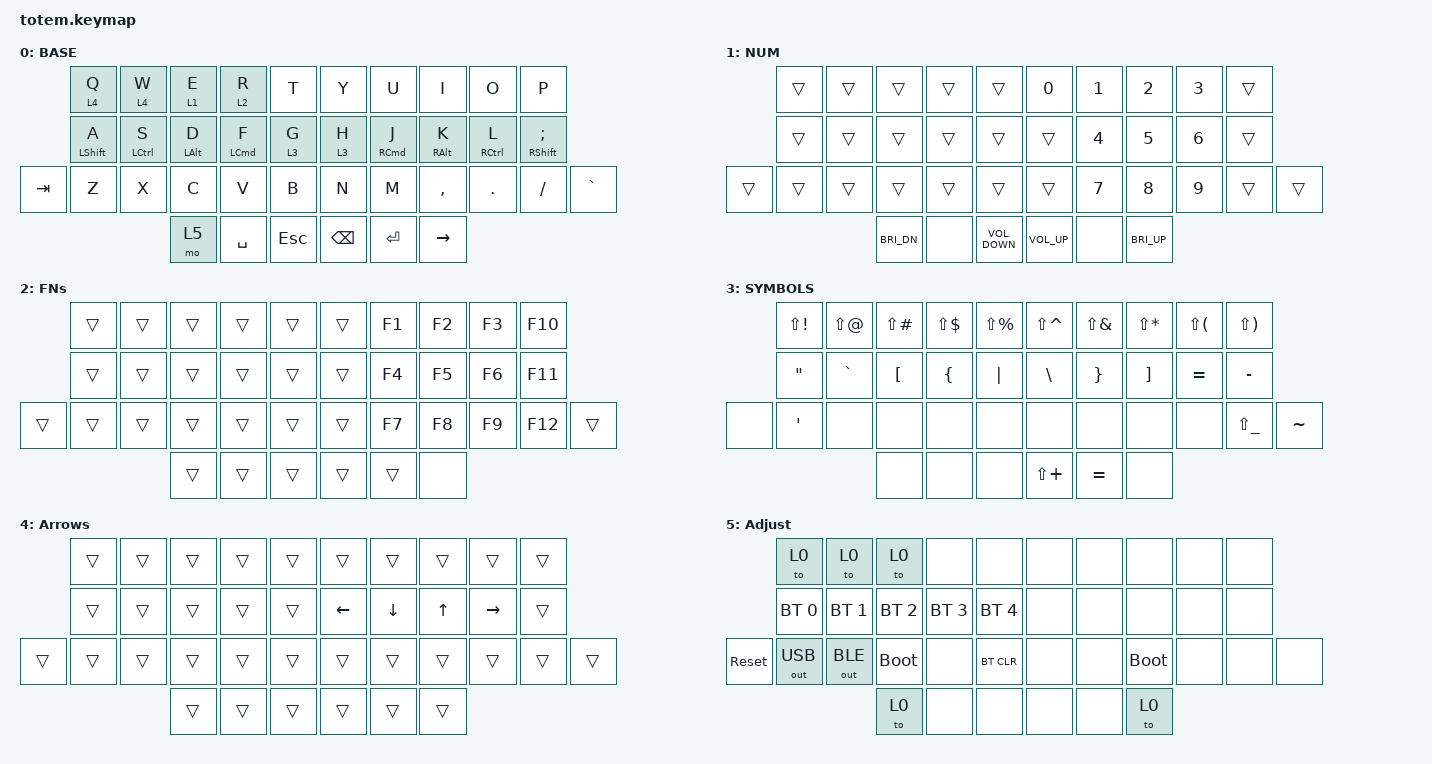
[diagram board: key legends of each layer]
#include <behaviors.dtsi>
#include <dt-bindings/zmk/bt.h>
#include <dt-bindings/zmk/keys.h>
#include <dt-bindings/zmk/outputs.h>

#define BASE 0
#define NAV  1
#define NUM  2
#define ADJ  3
#define TVP1 4
#define TVP2 5
#define CUT   LG(X)
#define COPY  LG(C)
#define PASTE LG(V)
#define UNDO LG(Z)
#define REDO LG(Y)

// &mt {
//   quick-tap-ms = <100>;
//   global-quick-tap;
//   flavor = "tap-preferred";
//   tapping-term-ms = <170>;
// };

/ {
    behaviors {
        ht2kp: ht2kp {
            compatible = "zmk,behavior-hold-tap";
            label = "Hold Tap 2 KP";
            bindings =
                <&kp>,
                <&kp>;

            #binding-cells = <2>;
            tapping-term-ms = <200>;
            flavor = "tap-preferred";
        };
        htkpmo: htkpmo {
            compatible = "zmk,behavior-hold-tap";
            label = "HOLD_TAP_TO_LAYER";
            bindings =
                <&mo>,
                <&kp>;

            #binding-cells = <2>;
            tapping-term-ms = <200>;
        };
    };

    keymap {
        compatible = "zmk,keymap";

        // ▄▄▄▄▄▄▄▄▄▄▄▄▄▄▄▄▄▄▄▄▄▄▄▄▄▄▄▄▄▄▄▄▄▄▄▄▄▄▄▄▄▄▄▄▄▄▄▄▄▄▄▄▄▄▄▄▄▄▄▄▄▄▄▄▄▄▄▄▄▄▄▄▄▄▄▄▄▄▄▄▄▄▄▄▄▄▄▄▄▄▄▄▄▄▄▄▄▄▄▄▄▄▄▄▄▄▄▄▄▄▄▄▄▄▄▄▄▄▄▄▄▄▄▄▄▄▄▄▄▄▄▄▄▄▄▄▄▄▄▄▄▄▄▄▄▄▄▄▄

        default_layer {
            // ┏━━━━━━━━━━━━━━━━━━━━━━━━━━━━━━━━━━━━━━━┓

            label = "BASE";

            // ┗━━━━━━━━━━━━━━━━━━━━━━━━━━━━━━━━━━━━━━━┛
            //             ┏━━━━━━━━━━━┳━━━━━━━━━━━┳━━━━━━━━━━━┳━━━━━━━━━━━┳━━━━━━━━━━━┓   ┏━━━━━━━━━━━┳━━━━━━━━━━━┳━━━━━━━━━━━┳━━━━━━━━━━━┳━━━━━━━━━━━┓
            //             ┃           ┃           ┃           ┃           ┃           ┃   ┃           ┃           ┃           ┃           ┃           ┃
            //             ┣━━━━━━━━━━━╋━━━━━━━━━━━╋━━━━━━━━━━━╋━━━━━━━━━━━╋━━━━━━━━━━━┫   ┣━━━━━━━━━━━╋━━━━━━━━━━━╋━━━━━━━━━━━╋━━━━━━━━━━━╋━━━━━━━━━━━┫
            //             ┃           ┃           ┃           ┃           ┃           ┃   ┃           ┃           ┃           ┃           ┃           ┃
            // ┏━━━━━━━━━━━╋━━━━━━━━━━━╋━━━━━━━━━━━╋━━━━━━━━━━━╋━━━━━━━━━━━╋━━━━━━━━━━━┫   ┣━━━━━━━━━━━╋━━━━━━━━━━━╋━━━━━━━━━━━╋━━━━━━━━━━━╋━━━━━━━━━━━╋━━━━━━━━━━━┓
            // ┃           ┃           ┃           ┃           ┃           ┃           ┃   ┃           ┃           ┃           ┃           ┃           ┃           ┃
            // ┗━━━━━━━━━━━┻━━━━━━━━━━━┻━━━━━━━━━━━╋━━━━━━━━━━━╋━━━━━━━━━━━╋━━━━━━━━━━━┫   ┣━━━━━━━━━━━╋━━━━━━━━━━━╋━━━━━━━━━━━╋━━━━━━━━━━━┻━━━━━━━━━━━┻━━━━━━━━━━━┛
            //                                     ┃           ┃           ┃           ┃   ┃           ┃           ┃           ┃
            //                                     ┗━━━━━━━━━━━┻━━━━━━━━━━━┻━━━━━━━━━━━┛   ┗━━━━━━━━━━━┻━━━━━━━━━━━┻━━━━━━━━━━━┛ 

            bindings = <
         &htkpmo 4 Q          &htkpmo 4 W            &htkpmo 1 E        &htkpmo 2 R            &kp T        &kp Y          &kp U                   &kp I               &kp O                   &kp P
         &ht2kp LEFT_SHIFT A  &ht2kp LEFT_CONTROL S  &ht2kp LEFT_ALT D  &ht2kp LEFT_COMMAND F  &htkpmo 3 G  &htkpmo 3 H    &ht2kp RIGHT_COMMAND J  &ht2kp RIGHT_ALT K  &ht2kp RIGHT_CONTROL L  &ht2kp RIGHT_SHIFT SEMICOLON
&kp TAB  &kp Z                &kp X                  &kp C              &kp V                  &kp B        &kp N          &kp M                   &kp COMMA           &kp DOT                 &kp SLASH                     &kp GRAVE
                                                     &mo 5              &kp SPACE              &kp ESCAPE   &kp BACKSPACE  &kp ENTER               &kp RIGHT
            >;
        };

        // ▄▄▄▄▄▄▄▄▄▄▄▄▄▄▄▄▄▄▄▄▄▄▄▄▄▄▄▄▄▄▄▄▄▄▄▄▄▄▄▄▄▄▄▄▄▄▄▄▄▄▄▄▄▄▄▄▄▄▄▄▄▄▄▄▄▄▄▄▄▄▄▄▄▄▄▄▄▄▄▄▄▄▄▄▄▄▄▄▄▄▄▄▄▄▄▄▄▄▄▄▄▄▄▄▄▄▄▄▄▄▄▄▄▄▄▄▄▄▄▄▄▄▄▄▄▄▄▄▄▄▄▄▄▄▄▄▄▄▄▄▄▄▄▄▄▄▄▄▄

        numbers {
            // ┏━━━━━━━━━━━━━━━━━━━━━━━━━━━━━━━━━━━━━━━┓

            label = "NUM";

            // ┗━━━━━━━━━━━━━━━━━━━━━━━━━━━━━━━━━━━━━━━┛
            //             ┏━━━━━━━━━━━┳━━━━━━━━━━━┳━━━━━━━━━━━┳━━━━━━━━━━━┳━━━━━━━━━━━┓   ┏━━━━━━━━━━━┳━━━━━━━━━━━┳━━━━━━━━━━━┳━━━━━━━━━━━┳━━━━━━━━━━━┓
            //             ┃           ┃           ┃           ┃           ┃           ┃   ┃           ┃           ┃           ┃           ┃           ┃
            //             ┣━━━━━━━━━━━╋━━━━━━━━━━━╋━━━━━━━━━━━╋━━━━━━━━━━━╋━━━━━━━━━━━┫   ┣━━━━━━━━━━━╋━━━━━━━━━━━╋━━━━━━━━━━━╋━━━━━━━━━━━╋━━━━━━━━━━━┫
            //             ┃           ┃           ┃           ┃           ┃           ┃   ┃           ┃           ┃           ┃           ┃           ┃
            // ┏━━━━━━━━━━━╋━━━━━━━━━━━╋━━━━━━━━━━━╋━━━━━━━━━━━╋━━━━━━━━━━━╋━━━━━━━━━━━┫   ┣━━━━━━━━━━━╋━━━━━━━━━━━╋━━━━━━━━━━━╋━━━━━━━━━━━╋━━━━━━━━━━━╋━━━━━━━━━━━┓
            // ┃           ┃           ┃           ┃           ┃           ┃           ┃   ┃           ┃           ┃           ┃           ┃           ┃           ┃
            // ┗━━━━━━━━━━━┻━━━━━━━━━━━┻━━━━━━━━━━━╋━━━━━━━━━━━╋━━━━━━━━━━━╋━━━━━━━━━━━┫   ┣━━━━━━━━━━━╋━━━━━━━━━━━╋━━━━━━━━━━━╋━━━━━━━━━━━┻━━━━━━━━━━━┻━━━━━━━━━━━┛
            //                                     ┃           ┃           ┃           ┃   ┃           ┃           ┃           ┃
            //                                     ┗━━━━━━━━━━━┻━━━━━━━━━━━┻━━━━━━━━━━━┛   ┗━━━━━━━━━━━┻━━━━━━━━━━━┻━━━━━━━━━━━┛

            bindings = <
        &trans  &trans  &trans        &trans  &trans             &kp NUMBER_0     &kp NUMBER_1  &kp NUMBER_2  &kp NUMBER_3  &trans
        &trans  &trans  &trans        &trans  &trans             &trans           &kp NUMBER_4  &kp NUMBER_5  &kp NUMBER_6  &trans
&trans  &trans  &trans  &trans        &trans  &trans             &trans           &kp NUMBER_7  &kp NUMBER_8  &kp NUMBER_9  &trans  &trans
                        &kp C_BRI_DN  &none   &kp C_VOLUME_DOWN  &kp C_VOLUME_UP  &none         &kp C_BRI_UP
            >;
        };

        // ▄▄▄▄▄▄▄▄▄▄▄▄▄▄▄▄▄▄▄▄▄▄▄▄▄▄▄▄▄▄▄▄▄▄▄▄▄▄▄▄▄▄▄▄▄▄▄▄▄▄▄▄▄▄▄▄▄▄▄▄▄▄▄▄▄▄▄▄▄▄▄▄▄▄▄▄▄▄▄▄▄▄▄▄▄▄▄▄▄▄▄▄▄▄▄▄▄▄▄▄▄▄▄▄▄▄▄▄▄▄▄▄▄▄▄▄▄▄▄▄▄▄▄▄▄▄▄▄▄▄▄▄▄▄▄▄▄▄▄▄▄▄▄▄▄▄▄▄▄

        fns {
            // ┏━━━━━━━━━━━━━━━━━━━━━━━━━━━━━━━━━━━━━━━┓

            label = "FNs";

            // ┗━━━━━━━━━━━━━━━━━━━━━━━━━━━━━━━━━━━━━━━┛
            //             ┏━━━━━━━━━━━┳━━━━━━━━━━━┳━━━━━━━━━━━┳━━━━━━━━━━━┳━━━━━━━━━━━┓   ┏━━━━━━━━━━━┳━━━━━━━━━━━┳━━━━━━━━━━━┳━━━━━━━━━━━┳━━━━━━━━━━━┓
            //             ┃           ┃           ┃           ┃           ┃           ┃   ┃           ┃           ┃           ┃           ┃           ┃
            //             ┣━━━━━━━━━━━╋━━━━━━━━━━━╋━━━━━━━━━━━╋━━━━━━━━━━━╋━━━━━━━━━━━┫   ┣━━━━━━━━━━━╋━━━━━━━━━━━╋━━━━━━━━━━━╋━━━━━━━━━━━╋━━━━━━━━━━━┫
            //             ┃           ┃           ┃           ┃           ┃           ┃   ┃           ┃           ┃           ┃           ┃           ┃
            // ┏━━━━━━━━━━━╋━━━━━━━━━━━╋━━━━━━━━━━━╋━━━━━━━━━━━╋━━━━━━━━━━━╋━━━━━━━━━━━┫   ┣━━━━━━━━━━━╋━━━━━━━━━━━╋━━━━━━━━━━━╋━━━━━━━━━━━╋━━━━━━━━━━━╋━━━━━━━━━━━┓
            // ┃           ┃           ┃           ┃           ┃           ┃           ┃   ┃           ┃           ┃           ┃           ┃           ┃           ┃
            // ┗━━━━━━━━━━━┻━━━━━━━━━━━┻━━━━━━━━━━━╋━━━━━━━━━━━╋━━━━━━━━━━━╋━━━━━━━━━━━┫   ┣━━━━━━━━━━━╋━━━━━━━━━━━╋━━━━━━━━━━━╋━━━━━━━━━━━┻━━━━━━━━━━━┻━━━━━━━━━━━┛
            //                                     ┃           ┃           ┃           ┃   ┃           ┃           ┃           ┃
            //                                     ┗━━━━━━━━━━━┻━━━━━━━━━━━┻━━━━━━━━━━━┛   ┗━━━━━━━━━━━┻━━━━━━━━━━━┻━━━━━━━━━━━┛

            bindings = <
        &trans  &trans  &trans  &trans  &trans  &trans  &kp F1  &kp F2  &kp F3  &kp F10
        &trans  &trans  &trans  &trans  &trans  &trans  &kp F4  &kp F5  &kp F6  &kp F11
&trans  &trans  &trans  &trans  &trans  &trans  &trans  &kp F7  &kp F8  &kp F9  &kp F12  &trans
                        &trans  &trans  &trans  &trans  &trans  &none
            >;
        };

        // ▄▄▄▄▄▄▄▄▄▄▄▄▄▄▄▄▄▄▄▄▄▄▄▄▄▄▄▄▄▄▄▄▄▄▄▄▄▄▄▄▄▄▄▄▄▄▄▄▄▄▄▄▄▄▄▄▄▄▄▄▄▄▄▄▄▄▄▄▄▄▄▄▄▄▄▄▄▄▄▄▄▄▄▄▄▄▄▄▄▄▄▄▄▄▄▄▄▄▄▄▄▄▄▄▄▄▄▄▄▄▄▄▄▄▄▄▄▄▄▄▄▄▄▄▄▄▄▄▄▄▄▄▄▄▄▄▄▄▄▄▄▄▄▄▄▄▄▄▄

        sympols {
            // ┏━━━━━━━━━━━━━━━━━━━━━━━━━━━━━━━━━━━━━━━┓

            label = "SYMBOLS";

            // ┗━━━━━━━━━━━━━━━━━━━━━━━━━━━━━━━━━━━━━━━┛
            //             ┏━━━━━━━━━━━┳━━━━━━━━━━━┳━━━━━━━━━━━┳━━━━━━━━━━━┳━━━━━━━━━━━┓   ┏━━━━━━━━━━━┳━━━━━━━━━━━┳━━━━━━━━━━━┳━━━━━━━━━━━┳━━━━━━━━━━━┓
            //             ┃           ┃           ┃           ┃           ┃           ┃   ┃           ┃           ┃           ┃           ┃           ┃
            //             ┣━━━━━━━━━━━╋━━━━━━━━━━━╋━━━━━━━━━━━╋━━━━━━━━━━━╋━━━━━━━━━━━┫   ┣━━━━━━━━━━━╋━━━━━━━━━━━╋━━━━━━━━━━━╋━━━━━━━━━━━╋━━━━━━━━━━━┫
            //             ┃           ┃           ┃           ┃           ┃           ┃   ┃           ┃           ┃           ┃           ┃           ┃
            // ┏━━━━━━━━━━━╋━━━━━━━━━━━╋━━━━━━━━━━━╋━━━━━━━━━━━╋━━━━━━━━━━━╋━━━━━━━━━━━┫   ┣━━━━━━━━━━━╋━━━━━━━━━━━╋━━━━━━━━━━━╋━━━━━━━━━━━╋━━━━━━━━━━━╋━━━━━━━━━━━┓
            // ┃           ┃           ┃           ┃           ┃           ┃           ┃   ┃           ┃           ┃           ┃           ┃           ┃           ┃
            // ┗━━━━━━━━━━━┻━━━━━━━━━━━┻━━━━━━━━━━━╋━━━━━━━━━━━╋━━━━━━━━━━━╋━━━━━━━━━━━┫   ┣━━━━━━━━━━━╋━━━━━━━━━━━╋━━━━━━━━━━━╋━━━━━━━━━━━┻━━━━━━━━━━━┻━━━━━━━━━━━┛
            //                                     ┃           ┃           ┃           ┃   ┃           ┃           ┃           ┃
            //                                     ┗━━━━━━━━━━━┻━━━━━━━━━━━┻━━━━━━━━━━━┛   ┗━━━━━━━━━━━┻━━━━━━━━━━━┻━━━━━━━━━━━┛

            bindings = <
       &kp LS(EXCL)       &kp LS(AT)  &kp LS(POUND)  &kp LS(DLLR)    &kp LS(PRCNT)  &kp LS(CARET)  &kp LS(AMPS)     &kp LS(STAR)       &kp LS(LPAR)  &kp LS(RPAR)
       &kp DOUBLE_QUOTES  &kp GRAVE   &kp LBKT       &kp LEFT_BRACE  &kp PIPE       &kp BSLH       &kp RIGHT_BRACE  &kp RIGHT_BRACKET  &kp EQUAL     &kp MINUS
&none  &kp SQT            &none       &none          &none           &none          &none          &none            &none              &none         &kp LS(UNDER)  &kp TILDE
                                      &none          &none           &none          &kp LS(PLUS)   &kp EQUAL        &none
            >;
        };

        // ▄▄▄▄▄▄▄▄▄▄▄▄▄▄▄▄▄▄▄▄▄▄▄▄▄▄▄▄▄▄▄▄▄▄▄▄▄▄▄▄▄▄▄▄▄▄▄▄▄▄▄▄▄▄▄▄▄▄▄▄▄▄▄▄▄▄▄▄▄▄▄▄▄▄▄▄▄▄▄▄▄▄▄▄▄▄▄▄▄▄▄▄▄▄▄▄▄▄▄▄▄▄▄▄▄▄▄▄▄▄▄▄▄▄▄▄▄▄▄▄▄▄▄▄▄▄▄▄▄▄▄▄▄▄▄▄▄▄▄▄▄▄▄▄▄▄▄▄▄

        arrows {
            // ┏━━━━━━━━━━━━━━━━━━━━━━━━━━━━━━━━━━━━━━━┓

            label = "Arrows";

            // ┗━━━━━━━━━━━━━━━━━━━━━━━━━━━━━━━━━━━━━━━┛
            //             ┏━━━━━━━━━━━┳━━━━━━━━━━━┳━━━━━━━━━━━┳━━━━━━━━━━━┳━━━━━━━━━━━┓   ┏━━━━━━━━━━━┳━━━━━━━━━━━┳━━━━━━━━━━━┳━━━━━━━━━━━┳━━━━━━━━━━━┓
            //             ┃           ┃           ┃           ┃           ┃           ┃   ┃           ┃           ┃           ┃           ┃           ┃
            //             ┣━━━━━━━━━━━╋━━━━━━━━━━━╋━━━━━━━━━━━╋━━━━━━━━━━━╋━━━━━━━━━━━┫   ┣━━━━━━━━━━━╋━━━━━━━━━━━╋━━━━━━━━━━━╋━━━━━━━━━━━╋━━━━━━━━━━━┫
            //             ┃           ┃           ┃           ┃           ┃           ┃   ┃           ┃           ┃           ┃           ┃           ┃
            // ┏━━━━━━━━━━━╋━━━━━━━━━━━╋━━━━━━━━━━━╋━━━━━━━━━━━╋━━━━━━━━━━━╋━━━━━━━━━━━┫   ┣━━━━━━━━━━━╋━━━━━━━━━━━╋━━━━━━━━━━━╋━━━━━━━━━━━╋━━━━━━━━━━━╋━━━━━━━━━━━┓
            // ┃           ┃           ┃           ┃           ┃           ┃           ┃   ┃           ┃           ┃           ┃           ┃           ┃           ┃
            // ┗━━━━━━━━━━━┻━━━━━━━━━━━┻━━━━━━━━━━━╋━━━━━━━━━━━╋━━━━━━━━━━━╋━━━━━━━━━━━┫   ┣━━━━━━━━━━━╋━━━━━━━━━━━╋━━━━━━━━━━━╋━━━━━━━━━━━┻━━━━━━━━━━━┻━━━━━━━━━━━┛
            //                                     ┃           ┃           ┃           ┃   ┃           ┃           ┃           ┃
            //                                     ┗━━━━━━━━━━━┻━━━━━━━━━━━┻━━━━━━━━━━━┛   ┗━━━━━━━━━━━┻━━━━━━━━━━━┻━━━━━━━━━━━┛

            bindings = <
        &trans  &trans  &trans  &trans  &trans  &trans    &trans    &trans  &trans     &trans
        &trans  &trans  &trans  &trans  &trans  &kp LEFT  &kp DOWN  &kp UP  &kp RIGHT  &trans
&trans  &trans  &trans  &trans  &trans  &trans  &trans    &trans    &trans  &trans     &trans  &trans
                        &trans  &trans  &trans  &trans    &trans    &trans
            >;
        };

        // ▄▄▄▄▄▄▄▄▄▄▄▄▄▄▄▄▄▄▄▄▄▄▄▄▄▄▄▄▄▄▄▄▄▄▄▄▄▄▄▄▄▄▄▄▄▄▄▄▄▄▄▄▄▄▄▄▄▄▄▄▄▄▄▄▄▄▄▄▄▄▄▄▄▄▄▄▄▄▄▄▄▄▄▄▄▄▄▄▄▄▄▄▄▄▄▄▄▄▄▄▄▄▄▄▄▄▄▄▄▄▄▄▄▄▄▄▄▄▄▄▄▄▄▄▄▄▄▄▄▄▄▄▄▄▄▄▄▄▄▄▄▄▄▄▄▄▄▄▄

        adj_layer {
            // ┏━━━━━━━━━━━━━━━━━━━━━━━━━━━━━━━━━━━━━━━┓

            label = "Adjust";

            // ┗━━━━━━━━━━━━━━━━━━━━━━━━━━━━━━━━━━━━━━━┛
            //             ┏━━━━━━━━━━━┳━━━━━━━━━━━┳━━━━━━━━━━━┳━━━━━━━━━━━┳━━━━━━━━━━━┓   ┏━━━━━━━━━━━┳━━━━━━━━━━━┳━━━━━━━━━━━┳━━━━━━━━━━━┳━━━━━━━━━━━┓
            //             ┃           ┃           ┃           ┃           ┃           ┃   ┃           ┃           ┃           ┃           ┃           ┃
            //             ┣━━━━━━━━━━━╋━━━━━━━━━━━╋━━━━━━━━━━━╋━━━━━━━━━━━╋━━━━━━━━━━━┫   ┣━━━━━━━━━━━╋━━━━━━━━━━━╋━━━━━━━━━━━╋━━━━━━━━━━━╋━━━━━━━━━━━┫
            //             ┃           ┃           ┃           ┃           ┃           ┃   ┃           ┃           ┃           ┃           ┃           ┃
            // ┏━━━━━━━━━━━╋━━━━━━━━━━━╋━━━━━━━━━━━╋━━━━━━━━━━━╋━━━━━━━━━━━╋━━━━━━━━━━━┫   ┣━━━━━━━━━━━╋━━━━━━━━━━━╋━━━━━━━━━━━╋━━━━━━━━━━━╋━━━━━━━━━━━╋━━━━━━━━━━━┓
            // ┃           ┃           ┃           ┃           ┃           ┃           ┃   ┃           ┃           ┃           ┃           ┃           ┃           ┃
            // ┗━━━━━━━━━━━┻━━━━━━━━━━━┻━━━━━━━━━━━╋━━━━━━━━━━━╋━━━━━━━━━━━╋━━━━━━━━━━━┫   ┣━━━━━━━━━━━╋━━━━━━━━━━━╋━━━━━━━━━━━╋━━━━━━━━━━━┻━━━━━━━━━━━┻━━━━━━━━━━━┛
            //                                     ┃           ┃           ┃           ┃   ┃           ┃           ┃           ┃
            //                                     ┗━━━━━━━━━━━┻━━━━━━━━━━━┻━━━━━━━━━━━┛   ┗━━━━━━━━━━━┻━━━━━━━━━━━┻━━━━━━━━━━━┛

            bindings = <
            &to 0         &to 0         &to 0         &none         &none         &none  &none  &none        &none  &none
            &bt BT_SEL 0  &bt BT_SEL 1  &bt BT_SEL 2  &bt BT_SEL 3  &bt BT_SEL 4  &none  &none  &none        &none  &none
&sys_reset  &out OUT_USB  &out OUT_BLE  &bootloader   &none         &bt BT_CLR    &none  &none  &bootloader  &none  &none  &none
                                        &to 0         &none         &none         &none  &none  &to 0
            >;
        };
    };
};
